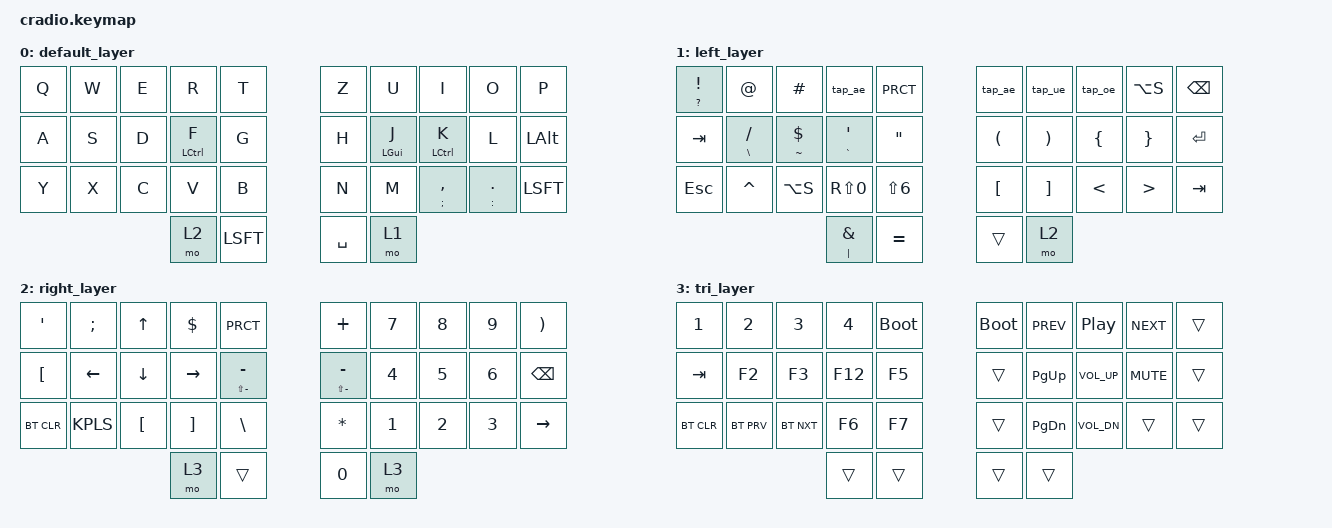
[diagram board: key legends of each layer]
/*
 * Copyright (c) 2020 The ZMK Contributors
 *
 * SPDX-License-Identifier: MIT
 * Author of the layout: Julian Hummel
 */

#include <behaviors.dtsi>
#include <dt-bindings/zmk/keys.h>
#include <dt-bindings/zmk/bt.h>


&mt {
  flavor = "tap-preferred";
  tapping_term_ms = <200>;
};

/ { 

    combos {
        compatible = "zmk,combos";
	/*
                           KEY POSITIONS
          ╭────────────────────╮ ╭────────────────────╮
          │  0   1   2   3   4 │ │  5   6   7   8   9 │
          │ 10  11  12  13  14 │ │ 15  16  17  18  19 │
          │ 20  21  22  23  24 │ │ 25  26  27  28  29 │
          ╰───────────╮ 30  31 │ │ 32  33 ╭───────────╯
                      ╰────────╯ ╰────────╯
        */
	
        combo_esc {
            timeout-ms = <50>;
            key-positions = <0 1>;
            bindings = <&kp ESC>;
        };
	
	combo_ctrlaltright {
            timeout-ms = <50>;
            key-positions = <16 17>;
            bindings = <&kp LC(LSHIFT)>;
        };
	
	switch_screens {
            timeout-ms = <50>;
            key-positions = <6 7>;
            bindings = <&kp LG(LS(LEFT))>;
        };
      
      	/* Activates the selection with the mouse for an area to screenshot. 
	The screenshot is copied to the clipboard. */
	screenshot_copy_to_clipboard {
            timeout-ms = <50>;
            key-positions = <12 13>;
            bindings = <&kp LG(LS(S))>;
        };
	
	/* Activates the selection with the mouse for an area to screenshot. 
	The screenshot is saved to the specified location. */
	screenshot_with_save {
            timeout-ms = <50>;
            key-positions = <22 23>;
            bindings = <&kp LG(LS(NUM_4))>;
        };
	
         combo_tab {
            timeout-ms = <50>;
            key-positions = <10 11>;
            bindings = <&kp TAB>;
        };
        
        
        
                    combo_lalt {
            timeout-ms = <50>;
            key-positions = <11 12>;
            bindings = <&kp LALT>;
        };
        
           combo_rgui {
            timeout-ms = <50>;
            key-positions = <17 18>;
            bindings = <&kp RGUI>;
        };
	
	to_last_layer {
            timeout-ms = <50>;
            key-positions = <17 18>;
            bindings = <&mo 3>;
        };
        

        
    };
    
    macros {
        german_oe: german_oe {
            label = "german_oe";
            compatible = "zmk,behavior-macro";
            #binding-cells = <0>;
            bindings = <&macro_tap_time 0>
	    	      ,<&macro_tap &kp DQT &kp O>;
        };
	german_ae: german_ae {
            label = "german_ae";
            compatible = "zmk,behavior-macro";
            #binding-cells = <0>;
            bindings = <&macro_tap_time 0>
	    	      ,<&macro_tap &kp DQT &kp A>;
        };
	german_ue: german_ue {
            label = "german_ue";
            compatible = "zmk,behavior-macro";
            #binding-cells = <0>;
            bindings = <&macro_tap_time 0>
	    	      ,<&macro_tap &kp DQT &kp U>;
        }; 
	german_ue_b: german_ue_b {
            label = "german_ue_b";
            compatible = "zmk,behavior-macro";
            #binding-cells = <0>;
            bindings = <&macro_tap_time 0>
	    	      ,<&macro_tap &kp DQT &kp LS(U)>;
        }; 
	german_oe_b: german_oe_b {
            label = "german_oe_b";
            compatible = "zmk,behavior-macro";
            #binding-cells = <0>;
            bindings = <&macro_tap_time 0>
	    	      ,<&macro_tap &kp DQT &kp LS(O)>;
        }; 
	german_ae_b: german_ae_b {
            label = "german_ae_b";
            compatible = "zmk,behavior-macro";
            #binding-cells = <0>;
            bindings = <&macro_tap_time 0>
	    	      ,<&macro_tap &kp DQT &kp LS(A)>;
        }; 
    };
    
    behaviors {
    	tap_ue: tap_dance_0 {
            compatible = "zmk,behavior-tap-dance";
            label = "TAP_DANCE_0";
            #binding-cells = <0>;
            tapping-term-ms = <250>;
            bindings = <&german_ue>, <&german_ue_b>;
        };
	tap_oe: tap_dance_1 {
            compatible = "zmk,behavior-tap-dance";
            label = "TAP_DANCE_1";
            #binding-cells = <0>;
            tapping-term-ms = <250>;
            bindings = <&german_oe>, <&german_oe_b>;
        };
	tap_ae: tap_dance_2 {
            compatible = "zmk,behavior-tap-dance";
            label = "TAP_DANCE_2";
            #binding-cells = <0>;
            tapping-term-ms = <250>;
            bindings = <&german_ae>, <&german_ae_b>;
        };
    };

        keymap {
                compatible = "zmk,keymap";
                
       		default_layer {
		bindings = <
		&kp Q &kp W &kp E &kp R &kp T 						&kp Z &kp U  &kp I &kp O &kp P
		&kp A &kp S &kp D &mt LCTRL F &kp G 			      			&kp H &mt LGUI J &mt LCTRL K &kp L &kp LALT
		&kp Y &kp X &kp C &kp V &kp B				        &kp N &kp M  &mt SEMI CMMA &mt COLON DOT &kp LSFT 
          				 &mo 2 &kp LSFT  		        	&kp SPC &mo 1 
		>;
		};

       		left_layer {
		bindings = <
		&mt QMARK EXCL &kp AT &kp HASH &tap_ae  &kp PRCT				&tap_ae &tap_ue &tap_oe &kp LA(S) &kp BKSP 
		&kp TAB &mt BSLH SLASH &mt TILDE DLLR &mt GRAVE SQT &kp DQT 			&kp LPAR &kp RPAR &kp LBRC &kp RBRC &kp ENTER 
		&kp ESC &kp CARET &kp LA(S) &kp RS(NUM_0) &kp LS(NUM_6) 		&kp LBKT &kp RBKT &kp LT &kp GT &kp TAB 
					    &mt PIPE AMPS &kp EQUAL				&trans &mo 2 
		>;
		};
		
		right_layer {
		bindings = <
		&kp APOS &kp SEMI &kp UP  &kp DLLR  &kp PRCT    			&kp PLUS  &kp NUM_7 &kp NUM_8 &kp NUM_9 &kp RPRN 
		&kp LBKT  &kp LEFT  &kp DOWN  &kp RIGHT  &mt LS(MINUS) MINUS		&mt LS(MINUS) MINUS &kp NUM_4  &kp NUM_5  &kp NUM_6   &kp BKSP
		&bt BT_CLR  &kp KPLS &kp LBKT &kp RBKT   &kp BSLH    			&kp STAR &kp NUM_1 &kp NUM_2 &kp NUM_3  &kp RIGHT
					  &mo 3 &trans  				&kp NUM_0  &mo 3 
		>;
		};	
		
		tri_layer {
		bindings = <
		&kp NUM_1  &kp NUM_2 &kp NUM_3 &kp NUM_4 &bootloader 			&bootloader &kp C_PREV   &kp C_PP   &kp C_NEXT  &trans
		&kp TAB &kp F2 &kp F3 &kp F12 &kp F5  				&trans &kp PG_UP  &kp C_VOL_UP &kp C_MUTE &trans 
		&bt BT_CLR  &bt BT_PRV &bt BT_NXT &kp F6 &kp F7   			&trans &kp PG_DN  &kp C_VOL_DN &trans &trans   
					 &trans &trans  				&trans &trans 
		>;
		};	
        
	};
};
